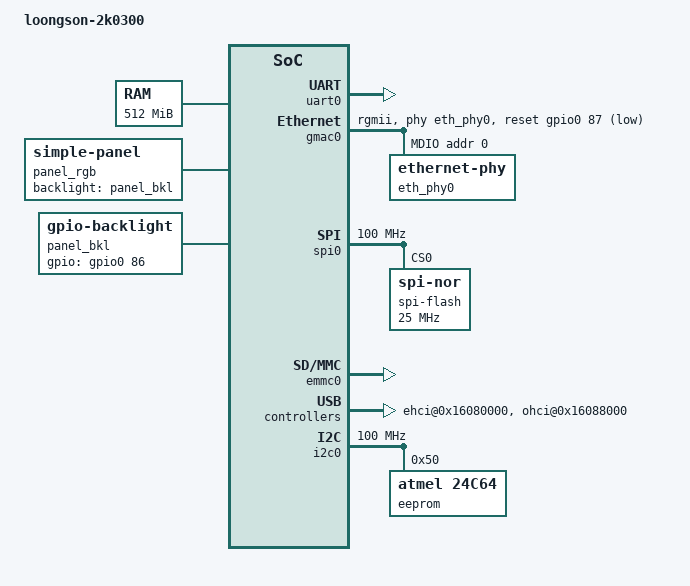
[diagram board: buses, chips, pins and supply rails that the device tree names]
#include <dt-bindings/interrupt-controller/irq.h>
#include <dt-bindings/gpio/gpio.h>

/dts-v1/;
/ {
	model = "loongson-2k0300";
	compatible = "loongson,ls2k";
	#address-cells = <2>;
	#size-cells = <2>;

	aliases {
		serial0 = &uart0;
		ethernet0 = &gmac0;
		spi0 = &spi0;
		i2c0 = &i2c0;
	};

	chosen {
		stdout-path = "serial0:115200n8";
		bootargs = "earlycon";
	};

    memory {
    name = "memory";
    device_type = "memory";
    reg = <0x90000000 0x00000000 0 0x10000000
           0x90000000 0x90000000 0 0x10000000>;
		  bootph-all;
    };

	reserved-memory {
		#address-cells = <2>;
		#size-cells = <2>;
		ranges;

		bootparam: bootparam_region {
			reg = <0x90000000 0x0f000000 0x0 0x1000000>;
			no-map;
		};
	};

	cpus {
		#address-cells = <1>;
		#size-cells = <0>;
		cpu-map {
			cluster0 {
				core0 {
					cpu = <&cpu0>;
				};
			};
		};

		cpu0: cpu@10000 {
			device_type = "cpu";
			compatible = "loongarch";
			reg=<0>;
			numa-node-id = <0>;
		};

	};

	cpuic: interrupt-controller {
		compatible = "loongson,cpu-interrupt-controller";
		interrupt-controller;
		#interrupt-cells = <1>;
	};

	liointc0: interrupt-controller@16001400 {
		compatible = "loongson,liointc-2.0";
		reg = <0 0x16001400 0 0x40>,
		      <0 0x16001040 0 0x8>;
		reg-names = "main", "isr0";

		interrupt-controller;
		#interrupt-cells = <2>;
		interrupt-parent = <&cpuic>;
		interrupts = <2>;
		interrupt-names = "int0";

		loongson,parent_int_map = <0xffffffff>, /* int0 */
					<0x00000000>, /* int1 */
					<0x00000000>, /* int2 */
					<0x00000000>; /* int3 */
	};

	liointc1: interrupt-controller@16001440 {
		compatible = "loongson,liointc-2.0";
		reg = <0 0x16001440 0 0x40>,
		      <0 0x16001048 0 0x8>;
		reg-names = "main", "isr0";

		interrupt-controller;
		#interrupt-cells = <2>;

		interrupt-parent = <&cpuic>;
		interrupts = <4>;
		interrupt-names = "int2";

		loongson,parent_int_map = <0x00000000>, /* int0 */
					<0x00000000>, /* int1 */
					<0xffffffff>, /* int2 */
					<0x00000000>; /* int3 */
	};

	ram@0 {
        compatible = "loongson,ls2k0300-ddr";
        bootph-all;
        soc-config-reg = <0x16000100>;
        mc-disable-offs = <5>;
        mc-default-offs = <1>;
	};

	pinmux: pinmux@0x16000490 {
		compatible = "pinctrl-single";
		reg = <0x80000000 0x16000490 0 0x20>;
		#address-cells = <1>;
		#size-cells = <0>;
		#pinctrl-cells = <2>;
		pinctrl-single,bit-per-mux;
		pinctrl-single,register-width = <32>;
		pinctrl-single,function-mask = <0xf>;
		// dc0
		dc_pins: pinmux_G0_G32_as_gmac {
			pinctrl-single,bits = <0x0 0xffffffff 0xffffffff 
						0x4 0x00ffffff 0x00ffffff>;
		};
		//i2c0
		i2c0_pins: pinmux_i2c0_pins {
			pinctrl-single,bits = <0xc 0x0000000f 0x0000000f>;
		};
		//gmac
		gmac0_pins: pinmux_gmac0_pins {
			pinctrl-single,bits = <0x4 0xff000000 0xff000000
								   0x8 0x0000ffff 0x0000ffff>;
		};
        //sdio
        sdio0_pins: pinmux_sdio0_pins {
            pinctrl-single,bits = <0x14 0xfff00000 0xfff0f000
                                   0x18 0x000000ff 0x000000ff>;
        };

	};

	soc {
		compatible = "ls,nbus", "simple-bus";
		#address-cells = <2>;
		#size-cells = <2>;
		ranges = <0 0x10000000 0 0x10000000 0 0x10000000
			0 0x2000000  0 0x2000000  0 0x2000000
			0 0x20000000 0 0x20000000 0 0x10000000
			0 0x40000000 0 0x40000000 0 0x40000000>;
		bootph-all;

		wdt: syscon@16124000 {
			compatible = "syscon";
			reg = <0 0x16124000 0 0x000c>;
		};

		reboot {
			compatible = "syscon-reboot";
			regmap = <&wdt>;
			offset = <0x00>;
			mask = <0x1>;
		};

		gpio:gpio@0x16104000 {
			#address-cells = <1>;
			#size-cells = <0>;

			compatible = "loongson,ls-gpio";
			reg = <0 0x16104000 0 0x4000>;

			gpio0: bank@0 {
				reg = <0>;
				gpio-controller;
				#gpio-cells = <2>;
				ngpios = <106>;
				bytewise;
				conf_offset = <0x800>;
				out_offset = <0x900>;
				in_offset = <0xa00>;
			};
		};
		uart0: serial@0x16100000 {
			compatible = "ns16550a";
			reg = <0 0x16100000 0 0x10>;
			clock-frequency = <100000000>;
			interrupt-parent = <&liointc0>;
			interrupts = <0 IRQ_TYPE_LEVEL_HIGH>;
			no-loopback-test;
			bootph-all;
		};

		gmac0: ethernet@0x16020000 {
			compatible = "snps,dwmac-3.70a", "snps,arc-dwmac-3.70a";
			reg = <0x0 0x16020000 0 0x10000>;
			interrupt-parent = <&liointc1>;
			interrupts = <17 IRQ_TYPE_LEVEL_HIGH>;
			interrupt-names = "macirq";
			pinctrl-0 = <&gmac0_pins>;
			pinctrl-names = "default";
			phy-mode = "rgmii";
			bus_id = <0x0>;
			phy_addr = <0xffffffff>;
			dma-mask = <0xffffffff 0xffffffff>;
            phy-handle = <&eth_phy0>;
			snps,reset-active-low;
			snps,reset-gpio = <&gpio0 87 GPIO_ACTIVE_HIGH>;
			snps,reset-delays-us = <0 10000 50000>;

            mdio0: mdio@0 {
                #address-cells = <1>;
                #size-cells = <0>;
                compatible = "snps,dwmac-mdio";
                eth_phy0: ethernet-phy@0 {
                              reg = <0>;
                          };
                   };
        };


		spi0: spi0@0x16010000 {
			compatible = "loongson,ls-spi";
			reg = <0x0 0x16010000 0 0x40000>;
			#address-cells = <1>;
			#size-cells = <0>;
			clock-frequency = <100000000>;
			bootph-all;

            spi-flash@0 {
                compatible = "jedec,spi-nor";
                spi-max-frequency = <25000000>; /* input clock */
                reg = <0>; /* CS0 */
            };
        };

		emmc0: emmc@0x16140000 {
			compatible = "loongson,ls-mmc";
			reg = <0 0x16140000 0 0x8000>;
			interrupt-parent = <&liointc0>;
			interrupts = <31 IRQ_TYPE_LEVEL_HIGH>;
			pinctrl-0 = <&sdio0_pins>;
			pinctrl-names = "default";
			cap-sd-highspeed;
			cap-mmc-highspeed;
		};

		ehci@0x16080000 {
			compatible = "generic-ehci";
			reg = <0 0x16080000 0 0x8000>;
			dma-mask = <0x0 0xffffffff>;
		};

		ohci@0x16088000 {
			compatible = "generic-ohci";
			reg = <0 0x16088000 0 0x8000>;
			dma-mask = <0x0 0xffffffff>;
		};

		otg@0x16040000 {
			compatible = "snps,dwc2";
			reg = <0 0x16040000 0 0x8000>;
			dma-mask = <0x0 0xffffffff>;
            status = "disabled";
		};

		dc: dc@0x16090000 {
			compatible = "loongson,ls-dc", "simple-bus";
			reg = <	0 0x16090000 0 0xffff		/* DC register base */
					0 0x16000410 0 0x4			/* pix pll config0 addr */
					0 0x16000414 0 0x4			/* pix pll config1 addr */
					/* 0 0xd000000 0 0x2000000 */ >; 	/* framebuffer addr */

			pinctrl-0 = <&dc_pins>;
			pinctrl-names = "default";
			#address-cells = <1>;
			#size-cells = <0>;
			bootph-all;

			dvo0: dvo@0 {
				compatible = "loongson,ls-dc-dvo";
				reg = <0>;
				clock-frequency = <120000000>;
				connector-type = "panel";   // panel, vga, hdmi
				connector = <&panel_rgb>;
			};

		};

		i2c0: i2c@16108000 {
		    compatible = "loongson,lsfs-i2c";
		    reg = <0 0x16108000 0 0x400>;
			pinctrl-0 = <&i2c0_pins>;
			pinctrl-names = "default";
		    interrupt-parent = <&liointc0>;
		    interrupts = <4 IRQ_TYPE_LEVEL_HIGH>;
		    #address-cells = <1>;
		    #size-cells = <0>;
		    clock-frequency = <100000000>;
		    eeprom@50 {
		        compatible = "atmel,24c64";
		        reg = <0x50>;
		        pagesize = <16>;
			};
		};

		rtc0: rtc@16128000{
			#address-cells = <1>;
			#size-cells = <1>;
			compatible = "loongson,ls-rtc";
			reg = <0 0x16128000 0 0x100>;
			interrupt-parent = <&liointc1>;
			interrupts = <8 IRQ_TYPE_LEVEL_HIGH>;
		};

		panel_rgb: panel-rgb {
			compatible = "simple-panel";
			backlight = <&panel_bkl>;
			pix-fmt = "rgb888"; // rgb444, rgb555, rgb565, rgb888

			display-timings {
				native-mode = <&timing0>;
				timing0: 1024x600 {
					clock-frequency = <51200000>;
					hactive = <1024>;
					vactive = <600>;
					hsync-len = <20>;
					hfront-porch = <160>;
					hback-porch = <140>;
					vfront-porch = <12>;
					vback-porch = <20>;
					vsync-len = <3>;
					de-active = <1>;
					hsync-active = <0>;
					vsync-active = <0>;
					pixelclk-active = <0>;
				};
			};
		};

		panel_bkl: backlight {
			compatible = "gpio-backlight";
			gpios = <&gpio0 86 GPIO_ACTIVE_HIGH>;
			// default-on;
		};
	};

	sysinfo-smbios {
		compatible = "u-boot,sysinfo-smbios";
		bootph-all;

		smbios {
			system {
				manufacturer = "Loongson";
				product = "LS2K0300";
			};
		};
	};
};
